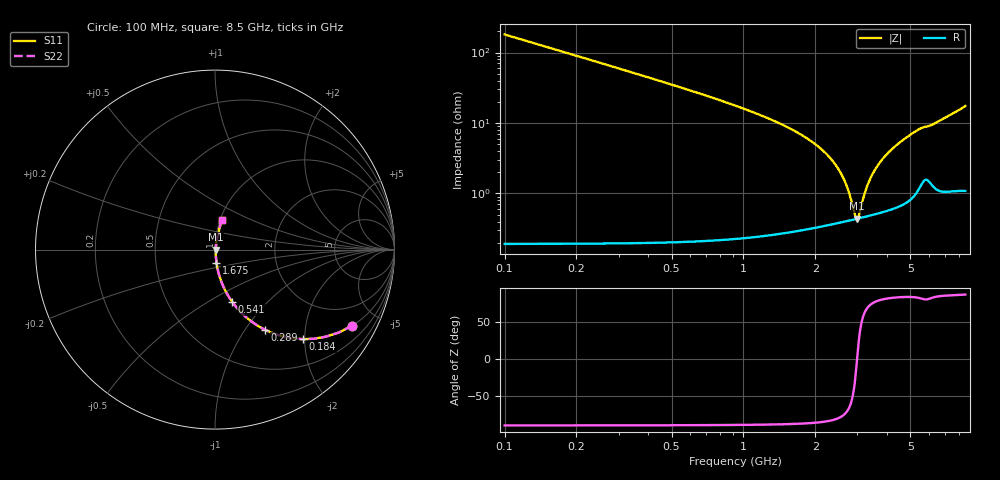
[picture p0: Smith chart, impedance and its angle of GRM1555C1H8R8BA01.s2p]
!Murata Part Number: GRM1555C1H8R8BA01
!These Parameters are Measured in Series Mode Connection
!Data Generated on Mar 30, 2021
!  o--ll--o
!Port1  Port2
!  o------o
!Operation Temp=25[degC], DC Bias Voltage=0[V]
!Freq. Start=100[MHz] Stop=9[GHz] 401[Steps]
# Hz S RI R 50
!Freq.(Hz) S11(Real) S11(Imag) S21(Real) S21(Imag) S12(Real) S12(Imag) S22(Real) S22(Imag)
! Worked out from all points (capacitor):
!   401 points, 100 MHz to 8.5 GHz, reference 50 ohm
!   read as one part in series: C = 8.8 pF near 142 MHz
!   lowest |Z| = 439 mohm at 2.998 GHz (marker M1)
!   series resonance near 2.992 GHz, so ESL is about 320 pH
!   S11 on the Smith chart (normalised r, x): 100 MHz: 1.00, -3.61; 184 MHz: 1.00, -1.96; 289 MHz: 1.00, -1.24; 541 MHz: 1.00, -0.65; 1.675 GHz: 1.01, -0.15; 8.5 GHz: 1.02, +0.35
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1e8  0.7652 -0.4233  0.2348 0.4233  0.2348 0.4233  0.7652 -0.4233
1.84e8  0.4895 -0.4989  0.5105 0.4989  0.5105 0.4989  0.4895 -0.4989
2.89e8  0.2782 -0.4466  0.7218 0.4466  0.7218 0.4466  0.2782 -0.4466
3.94e8  0.1701 -0.3735  0.8299 0.3735  0.8299 0.3735  0.1701 -0.3735
5.41e8  0.0961 -0.2916  0.9039 0.2916  0.9039 0.2916  0.0961 -0.2916
9.19e8  0.0328 -0.1718  0.9672 0.1718  0.9672 0.1718  0.0328 -0.1718
1.507e9  0.0106 -0.0882  0.9894 0.0882  0.9894 0.0882  0.0106 -0.0882
1.675e9  0.00831 -0.0732  0.9917 0.0732  0.9917 0.0732  0.00831 -0.0732
2.137e9  0.00509 -0.041  0.9949 0.041  0.9949 0.041  0.00509 -0.041
2.473e9  0.0043 -0.023  0.9957 0.023  0.9957 0.023  0.0043 -0.023
2.704e9  0.00418 -0.0122  0.9958 0.0122  0.9958 0.0122  0.00418 -0.0122
2.914e9  0.00428 -0.00317  0.9957 0.00317  0.9957 0.00317  0.00428 -0.00317
2.998e9  0.00437 0.000246  0.9956 -0.000246  0.9956 -0.000246  0.00437 0.000246
3.061e9  0.00445 0.00274  0.9956 -0.00274  0.9956 -0.00274  0.00445 0.00274
3.271e9  0.00481 0.0107  0.9952 -0.0107  0.9952 -0.0107  0.00481 0.0107
3.502e9  0.00534 0.0191  0.9947 -0.0191  0.9947 -0.0191  0.00534 0.0191
3.838e9  0.00634 0.0304  0.9937 -0.0304  0.9937 -0.0304  0.00634 0.0304
4.3e9  0.00818 0.0451  0.9918 -0.0451  0.9918 -0.0451  0.00818 0.0451
5.056e9  0.013 0.068  0.987 -0.068  0.987 -0.068  0.013 0.068
5.707e9  0.022 0.0832  0.978 -0.0832  0.978 -0.0832  0.022 0.0832
7.114e9  0.0248 0.1184  0.9752 -0.1184  0.9752 -0.1184  0.0248 0.1184
8.5e9  0.0392 0.1654  0.9608 -0.1654  0.9608 -0.1654  0.0392 0.1654
